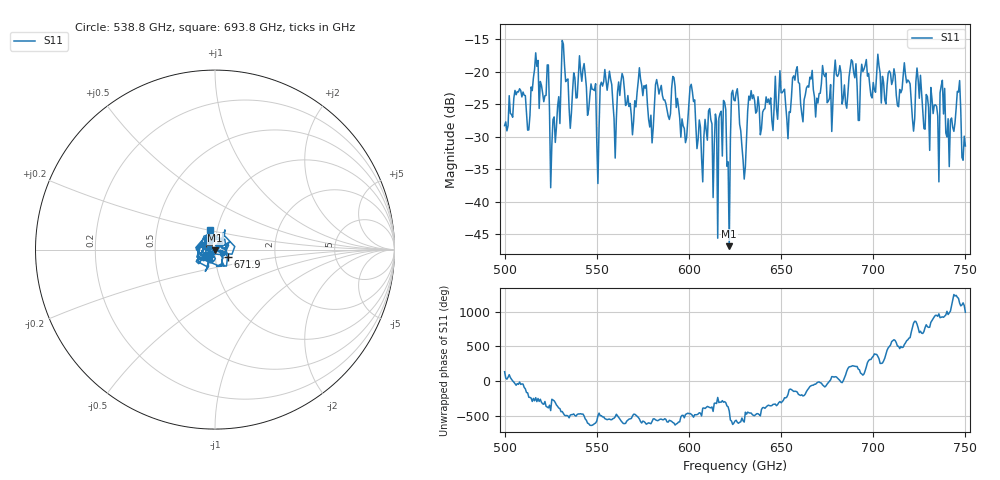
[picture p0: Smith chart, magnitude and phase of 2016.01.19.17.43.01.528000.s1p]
!Created with skrf (http://scikit-rf.org).
# GHz S RI R 50.0
!freq ReS11 ImS11
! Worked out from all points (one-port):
!   401 points, 500 GHz to 750 GHz, reference 50 ohm
!   lowest |S11| = -46.8 dB at 621.9 GHz (marker M1), VSWR 1.01, Z = 50.1 - j0.434 ohm
!   |S11| at or under -10 dB: start of sweep to end of sweep
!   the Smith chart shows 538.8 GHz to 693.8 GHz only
!   S11 on the Smith chart (normalised r, x): 538.8 GHz: 0.90, -0.06; 671.9 GHz: 1.15, -0.09; 693.8 GHz: 0.93, +0.21
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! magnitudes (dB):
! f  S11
! 500 GHz  -28.3
! 513.1 GHz  -28.9
! 516.9 GHz  -17.1
! 526.2 GHz  -27.3
! 531.2 GHz  -15.2
! 538.8 GHz  -24.0
! 550 GHz  -30.7
! 553.1 GHz  -22.2
! 560 GHz  -33.3
! 562.5 GHz  -23.6
! 593.8 GHz  -24.1
! 598.1 GHz  -30.9
! 601.9 GHz  -23.1
! 614.4 GHz  -26.5
! 618.8 GHz  -24.4
! 621.9 GHz  -46.8
! 625 GHz  -24.5
! 630 GHz  -36.5
! 633.8 GHz  -22.9
! 656.2 GHz  -20.9
! 671.9 GHz  -21.8
! 687.5 GHz  -19.5
! 693.8 GHz  -18.8
! 718.8 GHz  -21.3
! 737.5 GHz  -21.3
! 740.6 GHz  -27.2
! 746.2 GHz  -23.1
! 750 GHz  -31.4
